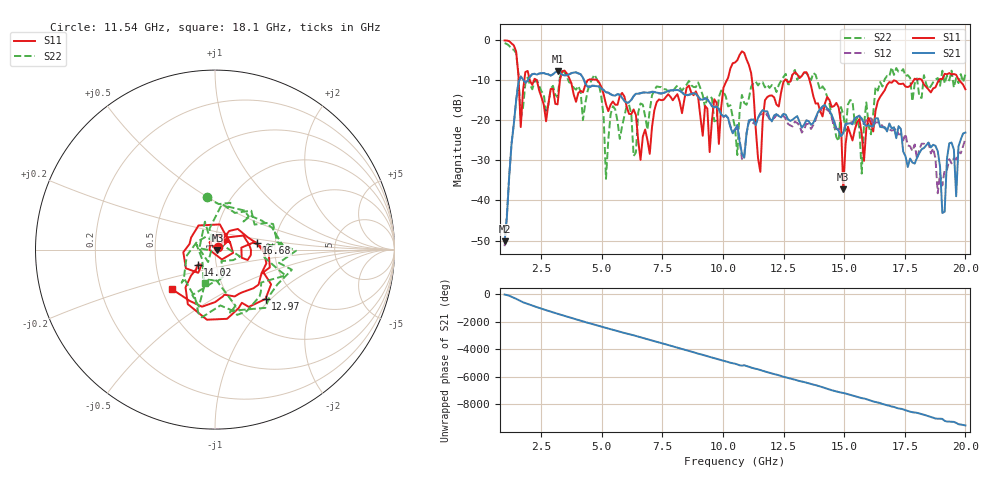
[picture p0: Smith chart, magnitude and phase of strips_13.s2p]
!Agilent Technologies,N5230A,MY45001629,A.07.50.67
!Agilent N5230A: A.07.50.67
!Date: Monday, June 05, 2017 16:28:38
!Correction: S11(Full 2 Port(1,2))
!S21(Full 2 Port(1,2))
!S12(Full 2 Port(1,2))
!S22(Full 2 Port(1,2))
!S2P File: Measurements: S11, S21, S12, S22:
# Hz S  dB  R 50
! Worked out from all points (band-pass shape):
!   201 points, 1 GHz to 20 GHz, reference 50 ohm
!   highest |S21| = -7.93 dB at 3.185 GHz (marker M1); lowest = -50.2 dB at 1 GHz (marker M2)
!   |S21| within 3 dB of the highest: 1.565 GHz to 4.332 GHz (2.767 GHz wide, 93.9 % of centre)
!   lowest |S11| = -37.2 dB at 14.96 GHz (marker M3), VSWR 1.03, Z = 51.3 - j0.401 ohm
!   |S11| at or under -10 dB: 4.805 GHz to 10.17 GHz (5.368 GHz wide, 71.7 % of centre); 11.2 GHz to 12.57 GHz (1.371 GHz wide, 11.5 % of centre); 13.57 GHz to 17.88 GHz (4.315 GHz wide, 27.4 % of centre)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
!   |S22| runs from -34.6 to -0.9 dB; largest |S21 - S12| = 0.036
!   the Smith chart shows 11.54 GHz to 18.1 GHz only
!   S11 on the Smith chart (normalised r, x): 11.54 GHz: 1.04, +0.02; 12.97 GHz: 1.43, -0.93; 14.02 GHz: 0.81, -0.14; 16.68 GHz: 1.60, +0.13; 18.1 GHz: 0.56, -0.28
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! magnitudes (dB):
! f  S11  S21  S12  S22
! 1 GHz  -0.2  -50.2  -51.4  -0.9
! 1.57 GHz  -8.9  -10.7  -10.6  -8.6
! 3.185 GHz  -16.1  -7.9  -7.9  -14.4
! 4.23 GHz  -13.1  -9.5  -9.5  -20.0
! 4.8 GHz  -10.0  -11.6  -11.5  -9.8
! 5.18 GHz  -16.1  -13.1  -13.1  -34.6
! 5.465 GHz  -15.4  -13.9  -13.9  -16.6
! 7.365 GHz  -14.9  -13.3  -13.4  -11.8
! 9.455 GHz  -28.0  -15.6  -15.7  -14.1
! 10.5 GHz  -5.7  -22.4  -22.4  -21.8
! 11.54 GHz  -32.9  -18.3  -18.6  -10.6
! 12.97 GHz  -8.1  -19.4  -20.4  -7.6
! 13.73 GHz  -14.1  -20.7  -21.3  -8.3
! 14.02 GHz  -17.8  -17.2  -17.9  -12.6
! 14.78 GHz  -16.9  -22.7  -22.2  -25.3
! 14.96 GHz  -37.2  -23.2  -23.2  -18.6
! 15.72 GHz  -23.5  -19.6  -20.5  -33.3
! 16.68 GHz  -12.6  -21.8  -22.1  -9.9
! 16.86 GHz  -10.6  -20.8  -22.4  -9.2
! 18.1 GHz  -9.7  -28.2  -27.3  -14.2
! 19.05 GHz  -9.8  -43.1  -36.3  -7.7
! 20 GHz  -12.4  -23.1  -24.7  -8.7
